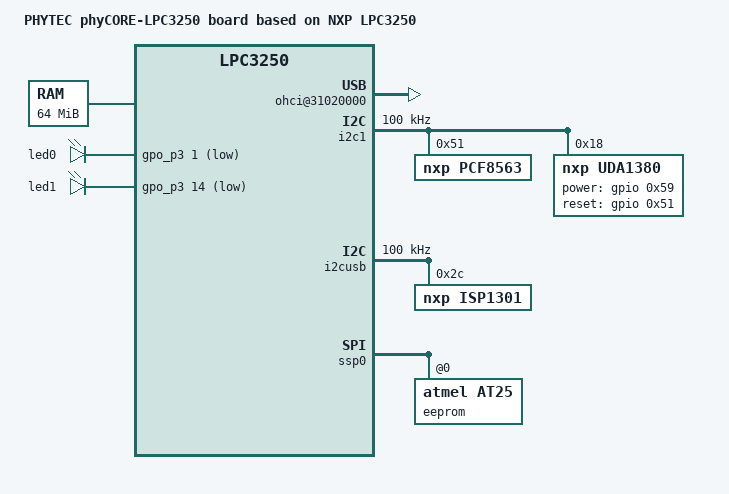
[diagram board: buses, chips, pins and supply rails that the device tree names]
/*
 * PHYTEC phyCORE-LPC3250 board
 *
 * Copyright 2012 Roland Stigge <stigge@antcom.de>
 *
 * The code contained herein is licensed under the GNU General Public
 * License. You may obtain a copy of the GNU General Public License
 * Version 2 or later at the following locations:
 *
 * http://www.opensource.org/licenses/gpl-license.html
 * http://www.gnu.org/copyleft/gpl.html
 */

/dts-v1/;
/include/ "lpc32xx.dtsi"

/ {
	model = "PHYTEC phyCORE-LPC3250 board based on NXP LPC3250";
	compatible = "phytec,phy3250", "nxp,lpc3250";
	#address-cells = <1>;
	#size-cells = <1>;

	memory {
		device_type = "memory";
		reg = <0 0x4000000>;
	};

	ahb {
		mac: ethernet@31060000 {
			phy-mode = "rmii";
			use-iram;
		};

		/* Here, choose exactly one from: ohci, usbd */
		ohci@31020000 {
			transceiver = <&isp1301>;
			status = "okay";
		};

/*
		usbd@31020000 {
			transceiver = <&isp1301>;
			status = "okay";
		};
*/

		clcd@31040000 {
			status = "okay";
		};

		/* 64MB Flash via SLC NAND controller */
		slc: flash@20020000 {
			status = "okay";
			#address-cells = <1>;
			#size-cells = <1>;

			mtd0@00000000 {
				label = "phy3250-boot";
				reg = <0x00000000 0x00064000>;
				read-only;
			};

			mtd1@00064000 {
				label = "phy3250-uboot";
				reg = <0x00064000 0x00190000>;
				read-only;
			};

			mtd2@001f4000 {
				label = "phy3250-ubt-prms";
				reg = <0x001f4000 0x00010000>;
			};

			mtd3@00204000 {
				label = "phy3250-kernel";
				reg = <0x00204000 0x00400000>;
			};

			mtd4@00604000 {
				label = "phy3250-rootfs";
				reg = <0x00604000 0x039fc000>;
			};
		};

		apb {
			i2c1: i2c@400A0000 {
				clock-frequency = <100000>;

				pcf8563: rtc@51 {
					compatible = "nxp,pcf8563";
					reg = <0x51>;
				};

				uda1380: uda1380@18 {
					compatible = "nxp,uda1380";
					reg = <0x18>;
					power-gpio = <&gpio 0x59 0>;
					reset-gpio = <&gpio 0x51 0>;
					dac-clk = "wspll";
				};
			};

			i2c2: i2c@400A8000 {
				clock-frequency = <100000>;
			};

			i2cusb: i2c@31020300 {
				clock-frequency = <100000>;

				isp1301: usb-transceiver@2c {
					compatible = "nxp,isp1301";
					reg = <0x2c>;
				};
			};

			ssp0: ssp@20084000 {
				eeprom: at25@0 {
					compatible = "atmel,at25";
				};
			};
		};

		fab {
			tsc@40048000 {
				status = "okay";
			};
		};
	};

	leds {
		compatible = "gpio-leds";

		led0 {
			gpios = <&gpo_p3 1 1>; /* GPO_P3 1, GPIO 80, active low */
			linux,default-trigger = "heartbeat";
			default-state = "off";
		};

		led1 {
			gpios = <&gpo_p3 14 1>; /* GPO_P3 14, GPIO 93, active low */
			linux,default-trigger = "timer";
			default-state = "off";
		};
	};
};
